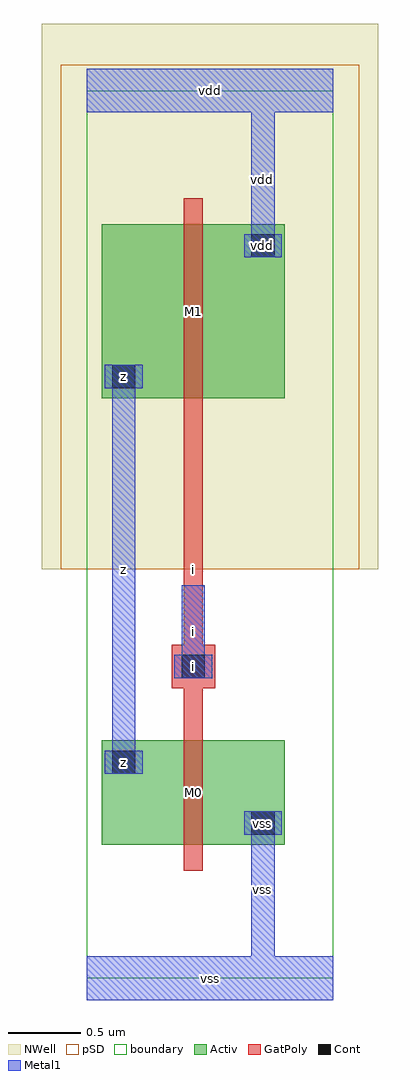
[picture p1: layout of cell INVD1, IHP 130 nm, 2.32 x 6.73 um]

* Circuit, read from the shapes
.subckt INVD1 i vdd vss z
XM1 vss i z VSUBS sg13_lv_nmos w=0.72u l=0.13u
XM2 vdd i z n1 sg13_lv_pmos w=1.2u l=0.13u
.ends

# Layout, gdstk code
import gdstk
lib = gdstk.Library(unit=1e-6, precision=1e-09)
def R(c, l, rs):  # rectangles x0, y0, x1, y1
    for r in rs: c.add(gdstk.rectangle(r[:2], r[2:], *l))
Activ = (1, 0)
GatPoly = (5, 0)
Cont = (6, 0)
Metal1 = (8, 0)
pSD = (14, 0)
NWell = (31, 0)
TEXT = (63, 0)
boundary = (189, 4)

invd1 = lib.new_cell('INVD1')
R(invd1, Activ, [(0.105,0.92,1.365,1.64), (1.065,0.92,1.365,1.22), (0.105,1.34,0.405,1.64), (0.105,4,1.365,5.2), (0.105,4,0.405,4.3), (1.065,4.9,1.365,5.2)])
R(invd1, GatPoly, [(0.67,0.74,0.8,1.82), (0.67,1.425,0.8,4.215), (0.585,2,0.885,2.3), (0.67,3.82,0.8,5.38)])
R(invd1, Cont, [(1.135,0.99,1.295,1.15), (0.175,1.41,0.335,1.57), (0.655,2.07,0.815,2.23), (0.175,4.07,0.335,4.23), (1.135,4.97,1.295,5.13)])
R(invd1, Metal1, [(0,-0.15,1.7,0.15), (1.135,0.07,1.295,1.15), (1.085,0.99,1.345,1.15), (0.125,1.41,0.385,1.57), (0.175,1.41,0.335,4.23), (0.605,2.07,0.865,2.23), (0.655,2.07,0.815,2.71), (0.125,4.07,0.385,4.23), (1.085,4.97,1.345,5.13), (1.135,4.97,1.295,6.05), (0,5.97,1.7,6.27)])
R(invd1, pSD, [(-0.18,2.82,1.88,5.94), (-0.18,5.94,1.88,6.3)])
R(invd1, NWell, [(-0.31,2.82,2.01,6.58)])
R(invd1, boundary, [(0,0,1.7,6.12)])
invd1.add(gdstk.FlexPath([(0.105,0.41),(1.365,0.41)], 0, ends="flush", simple_path=True, layer=63, datatype=0))  # TEXT
invd1.add(gdstk.FlexPath([(0.105,1.07),(1.365,1.07)], 0, ends="flush", simple_path=True, layer=63, datatype=0))  # TEXT
invd1.add(gdstk.FlexPath([(0.105,1.49),(1.365,1.49)], 0, ends="flush", simple_path=True, layer=63, datatype=0))  # TEXT
invd1.add(gdstk.FlexPath([(0.105,2.15),(1.365,2.15)], 0, ends="flush", simple_path=True, layer=63, datatype=0))  # TEXT
invd1.add(gdstk.FlexPath([(0.105,2.63),(1.365,2.63)], 0, ends="flush", simple_path=True, layer=63, datatype=0))  # TEXT
invd1.add(gdstk.FlexPath([(0.105,3.11),(1.365,3.11)], 0, ends="flush", simple_path=True, layer=63, datatype=0))  # TEXT
invd1.add(gdstk.FlexPath([(0.105,4.15),(1.365,4.15)], 0, ends="flush", simple_path=True, layer=63, datatype=0))  # TEXT
invd1.add(gdstk.FlexPath([(0.105,4.71),(1.365,4.71)], 0, ends="flush", simple_path=True, layer=63, datatype=0))  # TEXT
invd1.add(gdstk.FlexPath([(0.105,5.05),(1.365,5.05)], 0, ends="flush", simple_path=True, layer=63, datatype=0))  # TEXT
invd1.add(gdstk.FlexPath([(0.105,5.71),(1.365,5.71)], 0, ends="flush", simple_path=True, layer=63, datatype=0))  # TEXT
invd1.add(gdstk.FlexPath([(0.255,0.07),(0.255,6.05)], 0, ends="flush", simple_path=True, layer=63, datatype=0))  # TEXT
invd1.add(gdstk.FlexPath([(0.735,0.07),(0.735,6.05)], 0, ends="flush", simple_path=True, layer=63, datatype=0))  # TEXT
invd1.add(gdstk.FlexPath([(1.215,0.07),(1.215,6.05)], 0, ends="flush", simple_path=True, layer=63, datatype=0))  # TEXT
invd1.add(gdstk.Label('z', (0.255,1.49), layer=6, texttype=0))
invd1.add(gdstk.Label('z', (0.255,4.15), layer=6, texttype=0))
invd1.add(gdstk.Label('i', (0.735,2.15), layer=6, texttype=0))
invd1.add(gdstk.Label('vss', (1.215,1.07), layer=6, texttype=0))
invd1.add(gdstk.Label('vdd', (1.215,5.05), layer=6, texttype=0))
invd1.add(gdstk.Label('vss', (1.215,1.07), layer=8, texttype=0))
invd1.add(gdstk.Label('vss', (1.215,0.61), layer=8, texttype=0))
invd1.add(gdstk.Label('vdd', (1.215,5.05), layer=8, texttype=0))
invd1.add(gdstk.Label('vdd', (1.215,5.51), layer=8, texttype=0))
invd1.add(gdstk.Label('z', (0.255,1.49), layer=8, texttype=2))
invd1.add(gdstk.Label('z', (0.255,4.15), layer=8, texttype=2))
invd1.add(gdstk.Label('z', (0.255,2.82), layer=8, texttype=2))
invd1.add(gdstk.Label('i', (0.735,2.15), layer=8, texttype=2))
invd1.add(gdstk.Label('i', (0.735,2.39), layer=8, texttype=2))
invd1.add(gdstk.Label('vss', (0.85,0), layer=8, texttype=2))
invd1.add(gdstk.Label('vdd', (0.85,6.12), layer=8, texttype=2))
invd1.add(gdstk.Label('z', (0.255,1.49), layer=8, texttype=2))
invd1.add(gdstk.Label('z', (0.255,4.15), layer=8, texttype=2))
invd1.add(gdstk.Label('z', (0.255,2.82), layer=8, texttype=2))
invd1.add(gdstk.Label('i', (0.735,2.15), layer=8, texttype=2))
invd1.add(gdstk.Label('i', (0.735,2.39), layer=8, texttype=2))
invd1.add(gdstk.Label('vss', (0.85,0), layer=8, texttype=2))
invd1.add(gdstk.Label('vdd', (0.85,6.12), layer=8, texttype=2))
invd1.add(gdstk.Label('M0', (0.735,1.28), layer=1, texttype=0))
invd1.add(gdstk.Label('M1', (0.735,4.6), layer=1, texttype=0))
invd1.add(gdstk.Label('z', (0.255,1.49), layer=1, texttype=0))
invd1.add(gdstk.Label('z', (0.255,4.15), layer=1, texttype=0))
invd1.add(gdstk.Label('vss', (1.215,1.07), layer=1, texttype=0))
invd1.add(gdstk.Label('vdd', (1.215,5.05), layer=1, texttype=0))
invd1.add(gdstk.Label('z', (0.255,1.49), layer=8, texttype=25))
invd1.add(gdstk.Label('z', (0.255,4.15), layer=8, texttype=25))
invd1.add(gdstk.Label('z', (0.255,2.82), layer=8, texttype=25))
invd1.add(gdstk.Label('i', (0.735,2.15), layer=8, texttype=25))
invd1.add(gdstk.Label('i', (0.735,2.39), layer=8, texttype=25))
invd1.add(gdstk.Label('vss', (0.85,0), layer=8, texttype=25))
invd1.add(gdstk.Label('vdd', (0.85,6.12), layer=8, texttype=25))
invd1.add(gdstk.Label('i', (0.735,2.82), layer=5, texttype=0))
invd1.add(gdstk.Label('i', (0.735,2.15), layer=5, texttype=0))

lib.write_gds('INVD1.gds')
